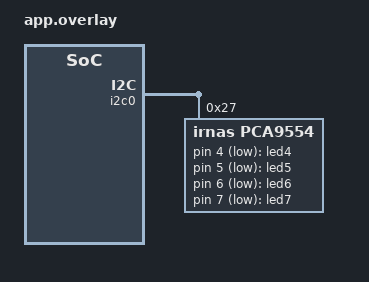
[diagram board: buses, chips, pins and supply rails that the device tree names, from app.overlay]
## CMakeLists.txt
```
# COPYRIGHT NOTICE: (c) 2022 Irnas. All rights reserved.
#
# Author: Marko Sagadin <marko@irnas.eu>

cmake_minimum_required(VERSION 3.20.0)

# create compile_commands.json for clang
set(CMAKE_EXPORT_COMPILE_COMMANDS on)

find_package(Zephyr REQUIRED HINTS $ENV{ZEPHYR_BASE})
project(basic)

target_sources(app PRIVATE src/main.c)
```

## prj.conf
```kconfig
CONFIG_GPIO=y
CONFIG_I2C=y
CONFIG_LOG=y
```

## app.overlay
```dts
&i2c0 {
        pca9554: pca9554@27 {
        compatible = "irnas,pca9554";
        reg = <0x27>;
        gpio-controller;
        #gpio-cells = <2>;
        ngpios=<8>;
    };
};

/ {
    pins {
        compatible = "gpio-keys";

        led4 {
            gpios = <&pca9554 4 GPIO_ACTIVE_LOW>;
		    label = "led4";
        };
        led5 {
            gpios = <&pca9554 5 GPIO_ACTIVE_LOW>;
		    label = "led5";
        };
        led6 {
            gpios = <&pca9554 6 GPIO_ACTIVE_LOW>;
		    label = "led6";
        };
        led7 {
            gpios = <&pca9554 7 GPIO_ACTIVE_LOW>;
		    label = "led7";
        };
    };
};
```

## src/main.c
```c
/** @file main.c
 *
 * @par
 * COPYRIGHT NOTICE: (c) 2022 Irnas. All rights reserved.
 * Author: Marko Sagadin <marko@irnas.eu>
 */

#include <zephyr/device.h>
#include <zephyr/drivers/gpio.h>
#include <zephyr/kernel.h>
#include <zephyr/logging/log.h>

#include <stdio.h>
#include <string.h>

LOG_MODULE_REGISTER(main);

const struct device *pca9554 = DEVICE_DT_GET(DT_NODELABEL(pca9554));

const struct gpio_dt_spec leds[] = {
	GPIO_DT_SPEC_GET(DT_PATH(pins, led4), gpios),
	GPIO_DT_SPEC_GET(DT_PATH(pins, led5), gpios),
	GPIO_DT_SPEC_GET(DT_PATH(pins, led6), gpios),
	GPIO_DT_SPEC_GET(DT_PATH(pins, led7), gpios),
};

void main(void)
{
	if (!device_is_ready(pca9554)) {
		LOG_ERR("pca9554 not ready!");
		while (1) {
		}
	}
	while (1) {
		LOG_INF("Toggling gpio pins directly with PCA9554 device");
		for (size_t i = 4; i < 8; i++) {
			gpio_pin_configure(pca9554, i, GPIO_OUTPUT_LOW);
			k_msleep(100);
		}

		for (size_t i = 0; i < 10; i++) {
			for (size_t j = 4; j < 8; j++) {
				gpio_pin_toggle(pca9554, j);
				k_msleep(100);
			}
		}

		LOG_INF("Toggling gpio pins over gpio_dt spec structs");
		for (size_t i = 0; i < 4; i++) {
			gpio_pin_configure_dt(&leds[i], GPIO_OUTPUT_INACTIVE);
			k_msleep(100);
		}

		for (size_t i = 0; i < 10; i++) {
			for (size_t j = 0; j < 4; j++) {
				gpio_pin_toggle_dt(&leds[j]);
				k_msleep(100);
			}
		}
	}
}
```
